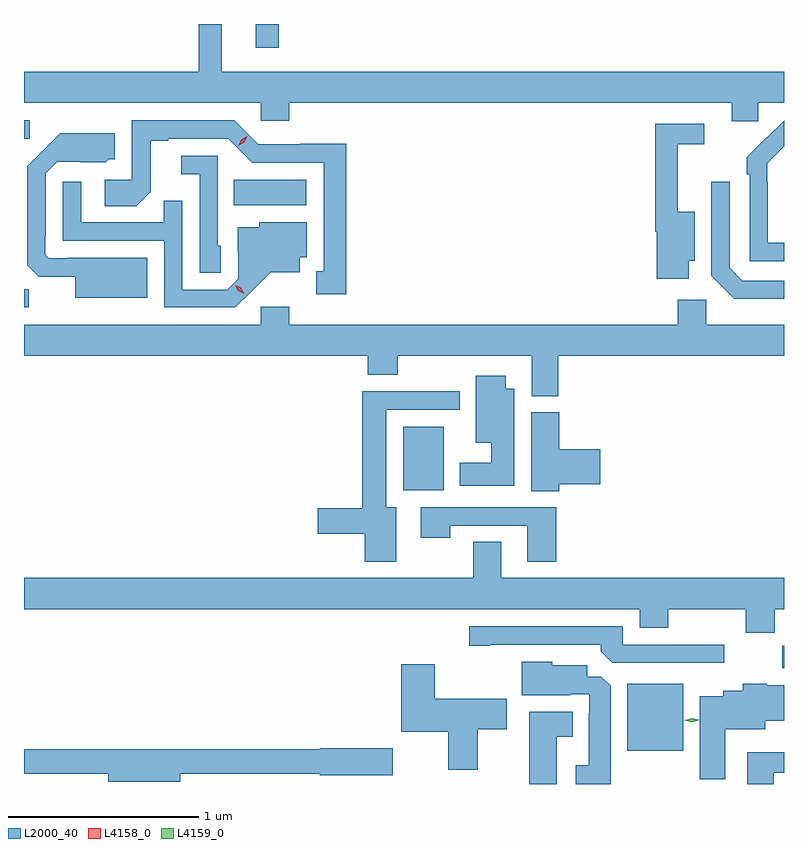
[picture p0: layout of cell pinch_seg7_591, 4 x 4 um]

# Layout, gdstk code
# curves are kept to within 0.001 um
import gdstk
lib = gdstk.Library(unit=1e-6, precision=1e-09)
def R(c, l, rs):  # rectangles x0, y0, x1, y1
    for r in rs: c.add(gdstk.rectangle(r[:2], r[2:], *l))
def P(c, l, *ps):  # polygons
    for p in ps: c.add(gdstk.Polygon(p, *l))
L2000_40 = (2000, 40)
L4158_0 = (4158, 0)
L4159_0 = (4159, 0)

pinch_seg7_591 = lib.new_cell('pinch_seg7_591')
R(pinch_seg7_591, L2000_40, [(170.963,1034.501,171.256,1034.854), (171.778,1034.936,171.787,1035.054), (169.784,1035.872,169.996,1036.207), (167.787,1036.836,167.811,1036.931), (168.892,1037.372,169.273,1037.506), (167.787,1037.724,167.818,1037.82), (169.007,1038.201,169.129,1038.327)])
P(pinch_seg7_591, L2000_40, [(171.651,1037.912),(171.787,1037.912),(171.787,1038.076),(168.829,1038.076),(168.829,1038.327),(168.708,1038.327),(168.708,1038.076),(167.787,1038.076),(167.787,1037.912),(169.032,1037.912),(169.032,1037.819),(169.184,1037.819),(169.184,1037.912),(171.512,1037.912),(171.512,1037.814),(171.651,1037.814)],
  [(169.483,1037.696),(169.242,1037.696),(169.242,1037.694),(169.02,1037.694),(168.894,1037.82),(168.354,1037.82),(168.354,1037.508),(168.213,1037.508),(168.213,1037.368),(168.377,1037.368),(168.453,1037.444),(168.453,1037.712),(168.547,1037.712),(168.547,1037.724),(168.861,1037.724),(168.987,1037.598),(169.364,1037.598),(169.364,1037.025),(169.325,1037.025),(169.325,1036.905),(169.483,1036.905)],
  [(171.787,1037.175),(171.702,1037.175),(171.702,1037.495),(171.699,1037.495),(171.699,1037.595),(171.787,1037.683),(171.787,1037.819),(171.591,1037.625),(171.591,1037.537),(171.606,1037.537),(171.606,1037.079),(171.787,1037.079)],
  [(171.286,1037.081),(171.316,1037.081),(171.316,1037.338),(171.227,1037.338),(171.227,1037.694),(171.367,1037.694),(171.367,1037.802),(171.109,1037.802),(171.109,1037.234),(171.116,1037.234),(171.116,1036.986),(171.286,1036.986)],
  [(168.436,1037.098),(168.016,1037.098),(168.016,1037.094),(167.916,1037.094),(167.898,1037.112),(167.898,1037.212),(167.901,1037.212),(167.901,1037.541),(167.961,1037.601),(168.218,1037.6),(168.234,1037.616),(168.265,1037.616),(168.265,1037.752),(167.977,1037.752),(167.805,1037.578),(167.805,1037.056),(167.864,1036.997),(168.056,1036.997),(168.056,1036.886),(168.436,1036.886)],
  [(168.822,1037.16),(168.807,1037.16),(168.807,1037.634),(168.615,1037.634),(168.615,1037.537),(168.711,1037.537),(168.711,1037.017),(168.822,1037.017)],
  [(171.787,1036.977),(171.567,1036.977),(171.501,1037.043),(171.501,1037.497),(171.405,1037.497),(171.405,1037.001),(171.526,1036.88),(171.787,1036.88)],
  [(168.982,1036.919),(169.085,1037.021),(169.237,1037.021),(169.237,1037.1),(169.276,1037.1),(169.276,1037.284),(169.026,1037.284),(169.026,1037.257),(168.911,1037.257),(168.911,1037.128),(168.915,1037.128),(168.915,1036.986),(168.858,1036.929),(168.621,1036.929),(168.621,1037.396),(168.523,1037.396),(168.523,1037.283),(168.087,1037.283),(168.087,1037.497),(167.991,1037.497),(167.991,1037.187),(168.525,1037.187),(168.525,1036.836),(168.898,1036.836)],
  [(169.184,1036.84),(169.032,1036.84),(169.032,1036.744),(167.787,1036.744),(167.787,1036.58),(169.595,1036.58),(169.595,1036.481),(169.755,1036.481),(169.755,1036.58),(170.459,1036.58),(170.459,1036.369),(170.6,1036.369),(170.6,1036.58),(171.787,1036.58),(171.787,1036.744),(171.378,1036.744),(171.378,1036.876),(171.227,1036.876),(171.227,1036.744),(169.184,1036.744)],
  [(170.368,1036.408),(170.323,1036.408),(170.323,1036.477),(170.165,1036.477),(170.165,1036.124),(170.246,1036.124),(170.246,1036.018),(170.081,1036.018),(170.081,1035.896),(170.368,1035.896)],
  [(169.747,1035.784),(169.693,1035.784),(169.693,1036.296),(170.08,1036.296),(170.08,1036.394),(169.568,1036.394),(169.568,1035.779),(169.332,1035.779),(169.332,1035.644),(169.58,1035.644),(169.58,1035.498),(169.747,1035.498)],
  [(170.603,1035.905),(170.821,1035.905),(170.821,1036.088),(170.603,1036.088),(170.603,1036.284),(170.456,1036.284),(170.456,1035.868),(170.603,1035.868)],
  [(170.588,1035.783),(169.875,1035.783),(169.875,1035.624),(170.031,1035.624),(170.031,1035.687),(170.435,1035.687),(170.435,1035.498),(170.588,1035.498)],
  [(171.737,1035.248),(171.787,1035.248),(171.787,1035.412),(170.299,1035.412),(170.299,1035.602),(170.152,1035.602),(170.152,1035.412),(167.787,1035.412),(167.787,1035.248),(171.029,1035.248),(171.029,1035.149),(171.177,1035.149),(171.177,1035.248),(171.586,1035.248),(171.586,1035.124),(171.737,1035.124)],
  [(171.472,1035.06),(170.937,1035.06),(170.937,1035.156),(170.13,1035.156),(170.13,1035.055),(170.242,1035.055),(170.242,1035.06),(170.822,1035.06),(170.822,1035.026),(170.883,1034.964),(171.472,1034.964)],
  [(170.875,1034.843),(170.826,1034.892),(170.752,1034.892),(170.752,1034.953),(170.568,1034.953),(170.568,1034.971),(170.408,1034.971),(170.408,1034.795),(170.663,1034.795),(170.663,1034.799),(170.763,1034.799),(170.763,1034.699),(170.759,1034.699),(170.759,1034.425),(170.69,1034.425),(170.69,1034.327),(170.875,1034.327)],
  [(170.176,1034.614),(170.329,1034.614),(170.329,1034.776),(169.95,1034.776),(169.95,1034.956),(169.772,1034.956),(169.772,1034.603),(170.021,1034.603),(170.021,1034.403),(170.176,1034.403)],
  [(171.478,1034.615),(171.688,1034.615),(171.688,1034.66),(171.787,1034.66),(171.787,1034.848),(171.696,1034.848),(171.696,1034.854),(171.571,1034.854),(171.571,1034.818),(171.467,1034.818),(171.467,1034.788),(171.344,1034.788),(171.344,1034.353),(171.478,1034.353)],
  [(170.59,1034.576),(170.674,1034.576),(170.674,1034.707),(170.447,1034.707),(170.447,1034.327),(170.59,1034.327)],
  [(168.61,1034.382),(169.344,1034.382),(169.344,1034.374),(169.729,1034.374),(169.729,1034.516),(169.344,1034.516),(169.344,1034.51),(167.787,1034.51),(167.787,1034.382),(168.23,1034.382),(168.23,1034.339),(168.61,1034.339)],
  [(171.733,1034.385),(171.787,1034.385),(171.787,1034.494),(171.593,1034.494),(171.593,1034.327),(171.733,1034.327)])
P(pinch_seg7_591, L4158_0, [(168.914,1037.685),(168.914,1037.685),(168.931,1037.717),(168.963,1037.736),(168.963,1037.736),(168.963,1037.736),(168.946,1037.704),(168.914,1037.685)],
  [(168.946,1036.907),(168.915,1036.923),(168.898,1036.953),(168.898,1036.953),(168.899,1036.953),(168.929,1036.938),(168.946,1036.908),(168.946,1036.907)])
P(pinch_seg7_591, L4159_0, [(171.301,1034.653),(171.263,1034.662),(171.263,1034.662),(171.263,1034.662),(171.301,1034.673),(171.339,1034.664),(171.339,1034.663),(171.339,1034.663)])

lib.write_gds('pinch_seg7_591.gds')
